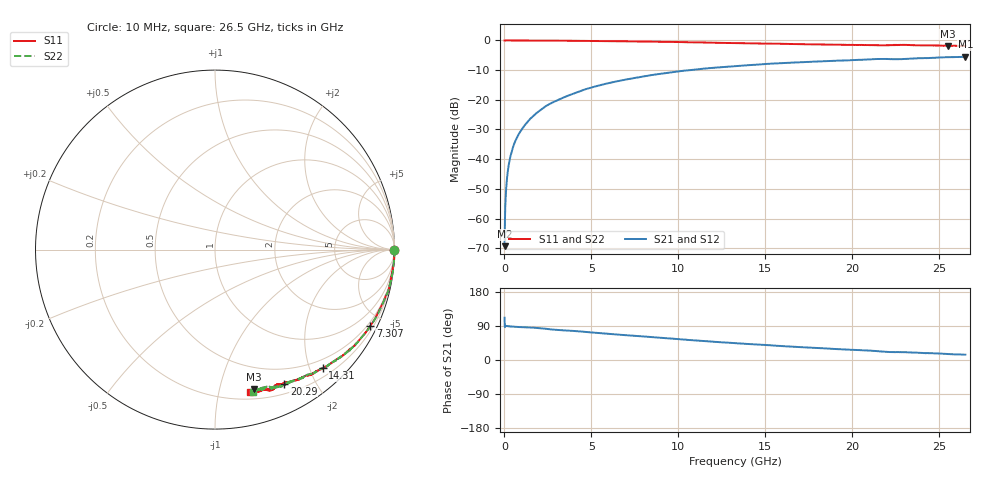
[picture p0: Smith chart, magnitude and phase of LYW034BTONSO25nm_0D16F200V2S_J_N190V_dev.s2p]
!Keysight Technologies,N5222B,MY61253708,A.15.00.15
!Date: Wednesday, June 19, 2024 10:37:29
!Correction: S11(C  2-Port  )
!S21(C  2-Port  )
!S12(C  2-Port  )
!S22(C  2-Port  )
!S2P File: Measurements: S11, S21, S12, S22:
# Hz S  RI  R 50
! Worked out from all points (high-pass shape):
!   2651 points, 10 MHz to 26.5 GHz, reference 50 ohm
!   highest |S21| = -5.47 dB at 26.5 GHz (marker M1); lowest = -69.3 dB at 10 MHz (marker M2)
!   |S21| within 3 dB of the highest: 13.63915 GHz to 13.66069 GHz (21.54 MHz wide, 0.158 % of centre); 13.69 GHz to end of sweep
!   lowest |S11| = -1.9 dB at 25.5 GHz (marker M3), VSWR 9.38, Z = 14.3 - j63.8 ohm
!   |S11| at or under -10 dB: nowhere
!   |S22| runs from -1.8 to 0.0 dB; largest |S21 - S12| = 0.0072
!   S11 on the Smith chart (normalised r, x): 10 MHz: open; 7.307 GHz: 0.35, -4.27; 14.31 GHz: 0.34, -2.22; 20.29 GHz: 0.31, -1.60; 26.5 GHz: 0.26, -1.24
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1e7  0.9985 -0.00314  -0.000126 0.000318  7.97e-05 0.000231  0.9984 -0.00207
7.997358e7  0.9999 -0.0056  2.38e-05 0.0026  3.09e-05 0.00259  0.9994 -0.00521
1.499472e8  1 -0.0106  4.19e-05 0.00483  3.29e-05 0.00483  0.9996 -0.01
1.899321e8  1 -0.0124  8.96e-05 0.00613  9.88e-05 0.00613  0.9998 -0.0117
2.499094e8  0.9996 -0.0167  0.000122 0.00807  0.000133 0.00807  0.9994 -0.0159
3.498717e8  0.9998 -0.0233  0.000292 0.0113  0.000235 0.0113  0.9996 -0.0225
4.698264e8  0.9985 -0.0315  0.000444 0.0151  0.00045 0.0152  0.9983 -0.0304
6.29766e8  0.9987 -0.0408  0.000809 0.0203  0.000822 0.0203  0.9986 -0.0404
8.196943e8  0.9979 -0.0534  0.00136 0.0262  0.00137 0.0263  0.9978 -0.0525
1.449457e9  0.9911 -0.0952  0.00327 0.0467  0.00331 0.0467  0.9935 -0.0919
2.329125e9  0.9825 -0.1485  0.0094 0.0758  0.00951 0.0759  0.9838 -0.149
3.208792e9  0.9728 -0.2032  0.0201 0.1015  0.0201 0.1017  0.9726 -0.2026
4.428332e9  0.9452 -0.2751  0.0366 0.1384  0.0367 0.1386  0.947 -0.2724
7.307245e9  0.865 -0.4257  0.0984 0.2062  0.0994 0.2062  0.8669 -0.4247
8.846664e9  0.8113 -0.4952  0.1395 0.2331  0.1402 0.233  0.8126 -0.4941
1.3255e10  0.6402 -0.6372  0.2638 0.2595  0.2652 0.2588  0.6431 -0.6366
1.43146e10  0.6004 -0.6612  0.2908 0.2563  0.2916 0.2559  0.6033 -0.6585
1.767333e10  0.4708 -0.7203  0.3694 0.2347  0.3718 0.233  0.4799 -0.7183
2.029234e10  0.3861 -0.7464  0.4202 0.2089  0.4223 0.2066  0.3997 -0.748
2.209166e10  0.3361 -0.7572  0.4532 0.1752  0.4541 0.1725  0.3284 -0.7633
2.550038e10  0.2163 -0.7778  0.5034 0.14  0.5041 0.14  0.2354 -0.7799
2.65e10  0.1968 -0.7928  0.5171 0.1293  0.5156 0.1257  0.209 -0.7906
